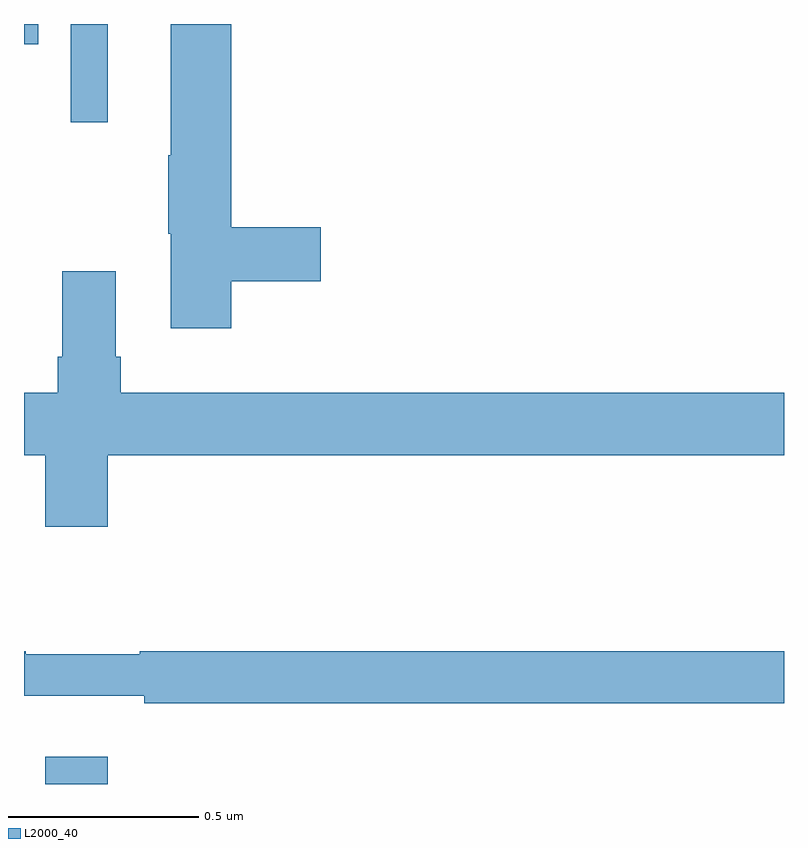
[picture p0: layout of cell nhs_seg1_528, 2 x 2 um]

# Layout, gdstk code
import gdstk
lib = gdstk.Library(unit=1e-6, precision=1e-09)
def R(c, l, rs):  # rectangles x0, y0, x1, y1
    for r in rs: c.add(gdstk.rectangle(r[:2], r[2:], *l))
def P(c, l, *ps):  # polygons
    for p in ps: c.add(gdstk.Polygon(p, *l))
L2000_40 = (2000, 40)

nhs_seg1_528 = lib.new_cell('nhs_seg1_528')
R(nhs_seg1_528, L2000_40, [(117.056,552.199,117.22,552.271), (117.123,553.941,117.22,554.199), (117,554.146,117.038,554.199)])
P(nhs_seg1_528, L2000_40, [(117.545,553.522),(117.781,553.522),(117.781,553.664),(117.545,553.664),(117.545,554.199),(117.386,554.199),(117.386,553.853),(117.379,553.853),(117.379,553.647),(117.386,553.647),(117.386,553.398),(117.545,553.398)],
  [(117.22,553.064),(119,553.064),(119,553.228),(117.254,553.228),(117.254,553.324),(117.241,553.324),(117.241,553.549),(117.101,553.549),(117.101,553.324),(117.089,553.324),(117.089,553.228),(117,553.228),(117,553.064),(117.056,553.064),(117.056,552.876),(117.22,552.876)],
  [(119,552.548),(117.305,552.548),(117.305,552.541),(117.005,552.541),(117.005,552.548),(117,552.548),(117,552.431),(117.316,552.431),(117.316,552.412),(119,552.412)])

lib.write_gds('nhs_seg1_528.gds')
